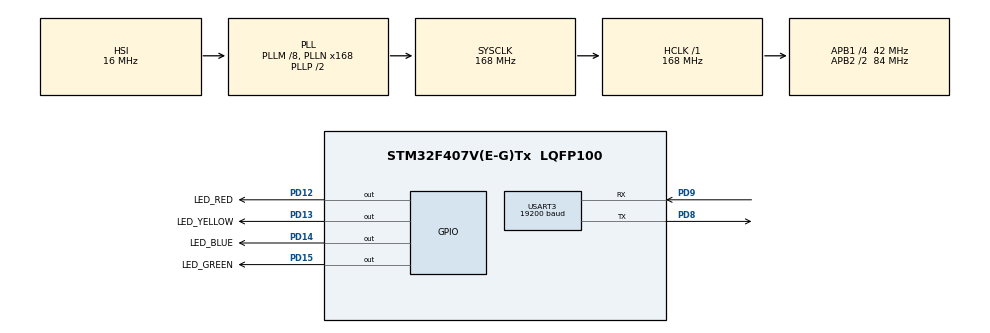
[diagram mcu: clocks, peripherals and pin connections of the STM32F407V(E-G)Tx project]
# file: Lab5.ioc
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Mcu.Family=STM32F4
Mcu.Name=STM32F407V(E-G)Tx
Mcu.Package=LQFP100
NVIC.PriorityGroup=NVIC_PRIORITYGROUP_4
PA13.Mode=Serial_Wire
PA13.Signal=SYS_JTMS-SWDIO
PA14.Mode=Serial_Wire
PA14.Signal=SYS_JTCK-SWCLK
PD12.GPIO_Label=LED_RED
PD12.Signal=GPIO_Output
PD13.GPIO_Label=LED_YELLOW
PD13.Signal=GPIO_Output
PD14.GPIO_Label=LED_BLUE
PD14.Signal=GPIO_Output
PD15.GPIO_Label=LED_GREEN
PD15.Signal=GPIO_Output
PD8.Mode=Asynchronous
PD8.Signal=USART3_TX
PD9.Mode=Asynchronous
PD9.Signal=USART3_RX
ProjectManager.HeapSize=0x400
ProjectManager.StackSize=0x400
ProjectManager.TargetToolchain=Makefile
RCC.48MHZClocksFreq_Value=48000000
RCC.AHBFreq_Value=168000000
RCC.APB1CLKDivider=RCC_HCLK_DIV4
RCC.APB1Freq_Value=42000000
RCC.APB1TimFreq_Value=84000000
RCC.APB2CLKDivider=RCC_HCLK_DIV2
RCC.APB2Freq_Value=84000000
RCC.APB2TimFreq_Value=168000000
RCC.CortexFreq_Value=168000000
RCC.HCLKFreq_Value=168000000
RCC.HSE_VALUE=8000000
RCC.HSI_VALUE=16000000
RCC.LSE_VALUE=32768
RCC.PLLM=8
RCC.PLLN=168
RCC.PLLQ=7
RCC.SYSCLKFreq_VALUE=168000000
RCC.SYSCLKSource=RCC_SYSCLKSOURCE_PLLCLK
RCC.VCOOutputFreq_Value=336000000
USART3.BaudRate=19200
USART3.VirtualMode=VM_ASYNC
board=custom

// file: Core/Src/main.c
/* USER CODE BEGIN Header */
/**
  ******************************************************************************
  * @file           : main.c
  * @brief          : Main program body
  ******************************************************************************
  * @attention
  *
  * Copyright (c) 2025 STMicroelectronics.
  * All rights reserved.
  *
  * This software is licensed under terms that can be found in the LICENSE file
  * in the root directory of this software component.
  * If no LICENSE file comes with this software, it is provided AS-IS.
  *
  ******************************************************************************
  */
/* USER CODE END Header */
#include "main.h"
#include "usart.h"
#include "gpio.h"

/* USER CODE BEGIN Includes */
#include <string.h>
/* USER CODE END Includes */

void SystemClock_Config(void);

int main(void)
{

  /* MCU Configuration--------------------------------------------------------*/

  /* Reset of all peripherals, Initializes the Flash interface and the Systick. */
  HAL_Init();

  /* Configure the system clock */
  SystemClock_Config();

  /* Initialize all configured peripherals */
  MX_GPIO_Init();
  MX_USART3_UART_Init();
  /* USER CODE BEGIN 2 */
  uint8_t rxData;
  char msg[] = "\r\n=== STM32F407 LED Remote Control ===\r\n"
               "Commands:\r\n"
               "  G - Toggle GREEN LED\r\n"
               "  Y - Toggle YELLOW LED\r\n"
               "  R - Toggle RED LED\r\n"
               "  B - Toggle BLUE LED\r\n"
               "  A - Turn ON all LEDs\r\n"
               "  O - Turn OFF all LEDs\r\n"
               "====================================\r\n";

  HAL_UART_Transmit(&huart3, (uint8_t*)msg, strlen(msg), HAL_MAX_DELAY);
  /* USER CODE END 2 */

  /* Infinite loop */
  while (1)
  {

    /* USER CODE BEGIN 3 */
    if (HAL_UART_Receive(&huart3, &rxData, 1, 100) == HAL_OK)
    {
      HAL_UART_Transmit(&huart3, &rxData, 1, HAL_MAX_DELAY);

      switch(rxData)
      {
        case 'G':
        case 'g':
          HAL_GPIO_TogglePin(LED_GREEN_GPIO_Port, LED_GREEN_Pin);
          HAL_UART_Transmit(&huart3, (uint8_t*)"\r\nGREEN LED toggled\r\n", 20, HAL_MAX_DELAY);
          break;

        case 'Y':
        case 'y':
          HAL_GPIO_TogglePin(LED_YELLOW_GPIO_Port, LED_YELLOW_Pin);
          HAL_UART_Transmit(&huart3, (uint8_t*)"\r\nYELLOW LED toggled\r\n", 22, HAL_MAX_DELAY);
          break;

        case 'R':
        case 'r':
          HAL_GPIO_TogglePin(LED_RED_GPIO_Port, LED_RED_Pin);
          HAL_UART_Transmit(&huart3, (uint8_t*)"\r\nRED LED toggled\r\n", 19, HAL_MAX_DELAY);
          break;

        case 'B':
        case 'b':
          HAL_GPIO_TogglePin(LED_BLUE_GPIO_Port, LED_BLUE_Pin);
          HAL_UART_Transmit(&huart3, (uint8_t*)"\r\nBLUE LED toggled\r\n", 20, HAL_MAX_DELAY);
          break;

        case 'A':
        case 'a':
          HAL_GPIO_WritePin(LED_GREEN_GPIO_Port, LED_GREEN_Pin, GPIO_PIN_SET);
          HAL_GPIO_WritePin(LED_YELLOW_GPIO_Port, LED_YELLOW_Pin, GPIO_PIN_SET);
          HAL_GPIO_WritePin(LED_RED_GPIO_Port, LED_RED_Pin, GPIO_PIN_SET);
          HAL_GPIO_WritePin(LED_BLUE_GPIO_Port, LED_BLUE_Pin, GPIO_PIN_SET);
          HAL_UART_Transmit(&huart3, (uint8_t*)"\r\nAll LEDs ON\r\n", 16, HAL_MAX_DELAY);
          break;

        case 'O':
        case 'o':
          HAL_GPIO_WritePin(LED_GREEN_GPIO_Port, LED_GREEN_Pin, GPIO_PIN_RESET);
          HAL_GPIO_WritePin(LED_YELLOW_GPIO_Port, LED_YELLOW_Pin, GPIO_PIN_RESET);
          HAL_GPIO_WritePin(LED_RED_GPIO_Port, LED_RED_Pin, GPIO_PIN_RESET);
          HAL_GPIO_WritePin(LED_BLUE_GPIO_Port, LED_BLUE_Pin, GPIO_PIN_RESET);
          HAL_UART_Transmit(&huart3, (uint8_t*)"\r\nAll LEDs OFF\r\n", 17, HAL_MAX_DELAY);
          break;

        default:
          HAL_UART_Transmit(&huart3, (uint8_t*)"\r\nUnknown command\r\n", 20, HAL_MAX_DELAY);
          break;
      }
    }
  }
  /* USER CODE END 3 */
}

void SystemClock_Config(void)
{
  RCC_OscInitTypeDef RCC_OscInitStruct = {0};
  RCC_ClkInitTypeDef RCC_ClkInitStruct = {0};

  /** Configure the main internal regulator output voltage
  */
  __HAL_RCC_PWR_CLK_ENABLE();
  __HAL_PWR_VOLTAGESCALING_CONFIG(PWR_REGULATOR_VOLTAGE_SCALE1);

  /** Initializes the RCC Oscillators according to the specified parameters
  * in the RCC_OscInitTypeDef structure.
  */
  RCC_OscInitStruct.OscillatorType = RCC_OSCILLATORTYPE_HSI;
  RCC_OscInitStruct.HSIState = RCC_HSI_ON;
  RCC_OscInitStruct.HSICalibrationValue = RCC_HSICALIBRATION_DEFAULT;
  RCC_OscInitStruct.PLL.PLLState = RCC_PLL_ON;
  RCC_OscInitStruct.PLL.PLLSource = RCC_PLLSOURCE_HSI;
  RCC_OscInitStruct.PLL.PLLM = 8;
  RCC_OscInitStruct.PLL.PLLN = 168;
  RCC_OscInitStruct.PLL.PLLP = RCC_PLLP_DIV2;
  RCC_OscInitStruct.PLL.PLLQ = 7;
  if (HAL_RCC_OscConfig(&RCC_OscInitStruct) != HAL_OK)
  {
    Error_Handler();
  }

  /** Initializes the CPU, AHB and APB buses clocks
  */
  RCC_ClkInitStruct.ClockType = RCC_CLOCKTYPE_HCLK|RCC_CLOCKTYPE_SYSCLK
                              |RCC_CLOCKTYPE_PCLK1|RCC_CLOCKTYPE_PCLK2;
  RCC_ClkInitStruct.SYSCLKSource = RCC_SYSCLKSOURCE_PLLCLK;
  RCC_ClkInitStruct.AHBCLKDivider = RCC_SYSCLK_DIV1;
  RCC_ClkInitStruct.APB1CLKDivider = RCC_HCLK_DIV4;
  RCC_ClkInitStruct.APB2CLKDivider = RCC_HCLK_DIV2;

  if (HAL_RCC_ClockConfig(&RCC_ClkInitStruct, FLASH_LATENCY_5) != HAL_OK)
  {
    Error_Handler();
  }
}

void Error_Handler(void)
{
  __disable_irq();
  while (1)
  {
  }
}
